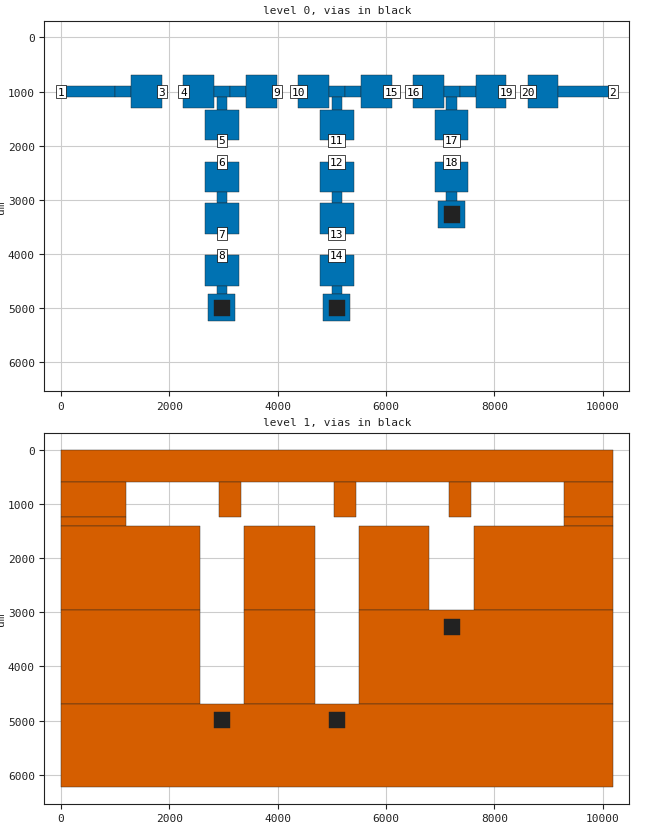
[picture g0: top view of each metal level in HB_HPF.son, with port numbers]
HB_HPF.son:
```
FTYP SONPROJ 1 ! Sonnet Project File
VER 19.54
HEADER
END HEADER
DIM
FREQ GHZ
IND NH
LNG UM
ANG DEG
CON /OH
CAP PF
RES OH
END DIM
FREQ
ABS 0.0300 8.0000
END FREQ
CONTROL
ABS
OPTIONS  -d
SPEED 0
RES_ABS 300
END CONTROL
GEO
TMET "Lossless" 0 SUP 0 0 0 0
BMET "Lossless" 0 SUP 0 0 0 0
MET "Cu35" 1 NOR 5.8e7 0 35
BOX 2 10180.0000 6230.0000 1018 623 20 0
      1000.0000 1 1 0 0 0 0 "Air"
      99.4000 4.1000 1 0.0200 0 0 0 "PP3313"
      1265.0000 4.5000 1 0.0200 0 0 0 "Core"
POR1 STD
POLY 1 1
3
1 50 0 0 0 0.0000 1000.0000
POR1 STD
POLY 38 1
1
2 50 0 0 0 10180.0000 1000.0000
POR1 AGND
POLY 3 1
1
3 50 0 0 0 1860.0000 1000.0000 FIX 0
POR1 AGND
POLY 4 1
3
4 50 0 0 0 2260.0000 1000.0000 FIX 0
POR1 AGND
POLY 7 1
2
5 50 0 0 0 2970.0000 1900.0000 FIX 0
POR1 AGND
POLY 8 1
0
6 50 0 0 0 2970.0000 2300.0000 FIX 0
POR1 AGND
POLY 10 1
2
7 50 0 0 0 2970.0000 3620.0000 FIX 0
POR1 AGND
POLY 11 1
0
8 50 0 0 0 2970.0000 4020.0000 FIX 0
POR1 AGND
POLY 15 1
1
9 50 0 0 0 3980.0000 1000.0000 FIX 0
POR1 AGND
POLY 16 1
3
10 50 0 0 0 4380.0000 1000.0000 FIX 0
POR1 AGND
POLY 19 1
2
11 50 0 0 0 5090.0000 1900.0000 FIX 0
POR1 AGND
POLY 20 1
0
12 50 0 0 0 5090.0000 2300.0000 FIX 0
POR1 AGND
POLY 22 1
2
13 50 0 0 0 5090.0000 3620.0000 FIX 0
POR1 AGND
POLY 23 1
0
14 50 0 0 0 5090.0000 4020.0000 FIX 0
POR1 AGND
POLY 27 1
1
15 50 0 0 0 6100.0000 1000.0000 FIX 0
POR1 AGND
POLY 28 1
3
16 50 0 0 0 6500.0000 1000.0000 FIX 0
POR1 AGND
POLY 31 1
2
17 50 0 0 0 7210.0000 1900.0000 FIX 0
POR1 AGND
POLY 32 1
0
18 50 0 0 0 7210.0000 2300.0000 FIX 0
POR1 AGND
POLY 36 1
1
19 50 0 0 0 8220.0000 1000.0000 FIX 0
POR1 AGND
POLY 37 1
3
20 50 0 0 0 8620.0000 1000.0000 FIX 0
NUM 61
1 5 0 N 39 1 1 100 100 0 0 0 Y
0.0000 0.0000
10180.0000 0.0000
10180.0000 590.0000
0.0000 590.0000
0.0000 0.0000
END
1 5 0 N 40 1 1 100 100 0 0 0 Y
0.0000 590.0000
1200.0000 590.0000
1200.0000 1240.0000
0.0000 1240.0000
0.0000 590.0000
END
1 5 0 N 41 1 1 100 100 0 0 0 Y
2920.0000 590.0000
3320.0000 590.0000
3320.0000 1240.0000
2920.0000 1240.0000
2920.0000 590.0000
END
1 5 0 N 42 1 1 100 100 0 0 0 Y
5040.0000 590.0000
5440.0000 590.0000
5440.0000 1240.0000
5040.0000 1240.0000
5040.0000 590.0000
END
1 5 0 N 43 1 1 100 100 0 0 0 Y
7160.0000 590.0000
7560.0000 590.0000
7560.0000 1240.0000
7160.0000 1240.0000
7160.0000 590.0000
END
1 5 0 N 44 1 1 100 100 0 0 0 Y
9280.0000 590.0000
10180.0000 590.0000
10180.0000 1240.0000
9280.0000 1240.0000
9280.0000 590.0000
END
1 5 0 N 45 1 1 100 100 0 0 0 Y
0.0000 1240.0000
1200.0000 1240.0000
1200.0000 1410.0000
0.0000 1410.0000
0.0000 1240.0000
END
1 5 0 N 46 1 1 100 100 0 0 0 Y
9280.0000 1240.0000
10180.0000 1240.0000
10180.0000 1410.0000
9280.0000 1410.0000
9280.0000 1240.0000
END
1 5 0 N 47 1 1 100 100 0 0 0 Y
0.0000 1410.0000
2560.0000 1410.0000
2560.0000 2960.0000
0.0000 2960.0000
0.0000 1410.0000
END
1 5 0 N 48 1 1 100 100 0 0 0 Y
3380.0000 1410.0000
4680.0000 1410.0000
4680.0000 2960.0000
3380.0000 2960.0000
3380.0000 1410.0000
END
1 5 0 N 49 1 1 100 100 0 0 0 Y
5500.0000 1410.0000
6800.0000 1410.0000
6800.0000 2960.0000
5500.0000 2960.0000
5500.0000 1410.0000
END
1 5 0 N 50 1 1 100 100 0 0 0 Y
7620.0000 1410.0000
10180.0000 1410.0000
10180.0000 2960.0000
7620.0000 2960.0000
7620.0000 1410.0000
END
1 5 0 N 51 1 1 100 100 0 0 0 Y
0.0000 2960.0000
2560.0000 2960.0000
2560.0000 2960.0000
0.0000 2960.0000
0.0000 2960.0000
END
1 5 0 N 52 1 1 100 100 0 0 0 Y
3380.0000 2960.0000
4680.0000 2960.0000
4680.0000 2960.0000
3380.0000 2960.0000
3380.0000 2960.0000
END
1 5 0 N 53 1 1 100 100 0 0 0 Y
5500.0000 2960.0000
6800.0000 2960.0000
6800.0000 2960.0000
5500.0000 2960.0000
5500.0000 2960.0000
END
1 5 0 N 54 1 1 100 100 0 0 0 Y
7620.0000 2960.0000
10180.0000 2960.0000
10180.0000 2960.0000
7620.0000 2960.0000
7620.0000 2960.0000
END
1 5 0 N 55 1 1 100 100 0 0 0 Y
0.0000 2960.0000
2560.0000 2960.0000
2560.0000 4690.0000
0.0000 4690.0000
0.0000 2960.0000
END
1 5 0 N 56 1 1 100 100 0 0 0 Y
3380.0000 2960.0000
4680.0000 2960.0000
4680.0000 4690.0000
3380.0000 4690.0000
3380.0000 2960.0000
END
1 5 0 N 57 1 1 100 100 0 0 0 Y
5500.0000 2960.0000
10180.0000 2960.0000
10180.0000 4690.0000
5500.0000 4690.0000
5500.0000 2960.0000
END
1 5 0 N 58 1 1 100 100 0 0 0 Y
0.0000 4690.0000
10180.0000 4690.0000
10180.0000 6230.0000
0.0000 6230.0000
0.0000 4690.0000
END
0 5 0 N 1 1 1 100 100 0 0 0 Y
0.0000 900.0000
1000.0000 900.0000
1000.0000 1100.0000
0.0000 1100.0000
0.0000 900.0000
END
0 5 0 N 2 1 1 100 100 0 0 0 Y
1000.0000 900.0000
1300.0000 900.0000
1300.0000 1100.0000
1000.0000 1100.0000
1000.0000 900.0000
END
0 5 0 N 3 1 1 100 100 0 0 0 Y
1300.0000 690.0000
1860.0000 690.0000
1860.0000 1310.0000
1300.0000 1310.0000
1300.0000 690.0000
END
0 5 0 N 4 1 1 100 100 0 0 0 Y
2260.0000 690.0000
2820.0000 690.0000
2820.0000 1310.0000
2260.0000 1310.0000
2260.0000 690.0000
END
0 5 0 N 5 1 1 100 100 0 0 0 Y
2820.0000 900.0000
3120.0000 900.0000
3120.0000 1100.0000
2820.0000 1100.0000
2820.0000 900.0000
END
0 5 0 N 6 1 1 100 100 0 0 0 Y
2880.0000 1100.0000
3070.0000 1100.0000
3070.0000 1340.0000
2880.0000 1340.0000
2880.0000 1100.0000
END
0 5 0 N 7 1 1 100 100 0 0 0 Y
2660.0000 1340.0000
3280.0000 1340.0000
3280.0000 1900.0000
2660.0000 1900.0000
2660.0000 1340.0000
END
0 5 0 N 8 1 1 100 100 0 0 0 Y
2660.0000 2300.0000
3280.0000 2300.0000
3280.0000 2860.0000
2660.0000 2860.0000
2660.0000 2300.0000
END
0 5 0 N 9 1 1 100 100 0 0 0 Y
2880.0000 2860.0000
3070.0000 2860.0000
3070.0000 3060.0000
2880.0000 3060.0000
2880.0000 2860.0000
END
0 5 0 N 10 1 1 100 100 0 0 0 Y
2660.0000 3060.0000
3280.0000 3060.0000
3280.0000 3620.0000
2660.0000 3620.0000
2660.0000 3060.0000
END
0 5 0 N 11 1 1 100 100 0 0 0 Y
2660.0000 4020.0000
3280.0000 4020.0000
3280.0000 4580.0000
2660.0000 4580.0000
2660.0000 4020.0000
END
0 5 0 N 12 1 1 100 100 0 0 0 Y
2880.0000 4580.0000
3070.0000 4580.0000
3070.0000 4730.0000
2880.0000 4730.0000
2880.0000 4580.0000
END
0 5 0 N 13 1 1 100 100 0 0 0 Y
2720.0000 4730.0000
3220.0000 4730.0000
3220.0000 5230.0000
2720.0000 5230.0000
2720.0000 4730.0000
END
0 5 0 N 14 1 1 100 100 0 0 0 Y
3120.0000 900.0000
3420.0000 900.0000
3420.0000 1100.0000
3120.0000 1100.0000
3120.0000 900.0000
END
0 5 0 N 15 1 1 100 100 0 0 0 Y
3420.0000 690.0000
3980.0000 690.0000
3980.0000 1310.0000
3420.0000 1310.0000
3420.0000 690.0000
END
0 5 0 N 16 1 1 100 100 0 0 0 Y
4380.0000 690.0000
4940.0000 690.0000
4940.0000 1310.0000
4380.0000 1310.0000
4380.0000 690.0000
END
0 5 0 N 17 1 1 100 100 0 0 0 Y
4940.0000 900.0000
5240.0000 900.0000
5240.0000 1100.0000
4940.0000 1100.0000
4940.0000 900.0000
END
0 5 0 N 18 1 1 100 100 0 0 0 Y
5000.0000 1100.0000
5180.0000 1100.0000
5180.0000 1340.0000
5000.0000 1340.0000
5000.0000 1100.0000
END
0 5 0 N 19 1 1 100 100 0 0 0 Y
4780.0000 1340.0000
5400.0000 1340.0000
5400.0000 1900.0000
4780.0000 1900.0000
4780.0000 1340.0000
END
0 5 0 N 20 1 1 100 100 0 0 0 Y
4780.0000 2300.0000
5400.0000 2300.0000
5400.0000 2860.0000
4780.0000 2860.0000
4780.0000 2300.0000
END
0 5 0 N 21 1 1 100 100 0 0 0 Y
5000.0000 2860.0000
5180.0000 2860.0000
5180.0000 3060.0000
5000.0000 3060.0000
5000.0000 2860.0000
END
0 5 0 N 22 1 1 100 100 0 0 0 Y
4780.0000 3060.0000
5400.0000 3060.0000
5400.0000 3620.0000
4780.0000 3620.0000
4780.0000 3060.0000
END
0 5 0 N 23 1 1 100 100 0 0 0 Y
4780.0000 4020.0000
5400.0000 4020.0000
5400.0000 4580.0000
4780.0000 4580.0000
4780.0000 4020.0000
END
0 5 0 N 24 1 1 100 100 0 0 0 Y
5000.0000 4580.0000
5180.0000 4580.0000
5180.0000 4730.0000
5000.0000 4730.0000
5000.0000 4580.0000
END
0 5 0 N 25 1 1 100 100 0 0 0 Y
4840.0000 4730.0000
5340.0000 4730.0000
5340.0000 5230.0000
4840.0000 5230.0000
4840.0000 4730.0000
END
0 5 0 N 26 1 1 100 100 0 0 0 Y
5240.0000 900.0000
5540.0000 900.0000
5540.0000 1100.0000
5240.0000 1100.0000
5240.0000 900.0000
END
0 5 0 N 27 1 1 100 100 0 0 0 Y
5540.0000 690.0000
6100.0000 690.0000
6100.0000 1310.0000
5540.0000 1310.0000
5540.0000 690.0000
END
0 5 0 N 28 1 1 100 100 0 0 0 Y
6500.0000 690.0000
7060.0000 690.0000
7060.0000 1310.0000
6500.0000 1310.0000
6500.0000 690.0000
END
0 5 0 N 29 1 1 100 100 0 0 0 Y
7060.0000 900.0000
7360.0000 900.0000
7360.0000 1100.0000
7060.0000 1100.0000
7060.0000 900.0000
END
0 5 0 N 30 1 1 100 100 0 0 0 Y
7110.0000 1100.0000
7300.0000 1100.0000
7300.0000 1340.0000
7110.0000 1340.0000
7110.0000 1100.0000
END
0 5 0 N 31 1 1 100 100 0 0 0 Y
6900.0000 1340.0000
7520.0000 1340.0000
7520.0000 1900.0000
6900.0000 1900.0000
6900.0000 1340.0000
END
0 5 0 N 32 1 1 100 100 0 0 0 Y
6900.0000 2300.0000
7520.0000 2300.0000
7520.0000 2860.0000
6900.0000 2860.0000
6900.0000 2300.0000
END
0 5 0 N 33 1 1 100 100 0 0 0 Y
7110.0000 2860.0000
7300.0000 2860.0000
7300.0000 3020.0000
7110.0000 3020.0000
7110.0000 2860.0000
END
0 5 0 N 34 1 1 100 100 0 0 0 Y
6960.0000 3020.0000
7460.0000 3020.0000
7460.0000 3520.0000
6960.0000 3520.0000
6960.0000 3020.0000
END
0 5 0 N 35 1 1 100 100 0 0 0 Y
7360.0000 900.0000
7660.0000 900.0000
7660.0000 1100.0000
7360.0000 1100.0000
7360.0000 900.0000
END
0 5 0 N 36 1 1 100 100 0 0 0 Y
7660.0000 690.0000
8220.0000 690.0000
8220.0000 1310.0000
7660.0000 1310.0000
7660.0000 690.0000
END
0 5 0 N 37 1 1 100 100 0 0 0 Y
8620.0000 690.0000
9180.0000 690.0000
9180.0000 1310.0000
8620.0000 1310.0000
8620.0000 690.0000
END
0 5 0 N 38 1 1 100 100 0 0 0 Y
9180.0000 900.0000
10180.0000 900.0000
10180.0000 1100.0000
9180.0000 1100.0000
9180.0000 900.0000
END
VIA POLYGON
0 5 0 V 59 1 1 100 100 0 0 0 Y
TOLEVEL GND RING COVERS
2820.0000 4840.0000
3120.0000 4840.0000
3120.0000 5140.0000
2820.0000 5140.0000
2820.0000 4840.0000
END
VIA POLYGON
0 5 0 V 60 1 1 100 100 0 0 0 Y
TOLEVEL GND RING COVERS
4940.0000 4840.0000
5240.0000 4840.0000
5240.0000 5140.0000
4940.0000 5140.0000
4940.0000 4840.0000
END
VIA POLYGON
0 5 0 V 61 1 1 100 100 0 0 0 Y
TOLEVEL GND RING COVERS
7060.0000 3120.0000
7360.0000 3120.0000
7360.0000 3420.0000
7060.0000 3420.0000
7060.0000 3120.0000
END
END GEO
FILEOUT
TS D Y $BASENAME.s20p 15 S RI R 50.00000
END FILEOUT
```
